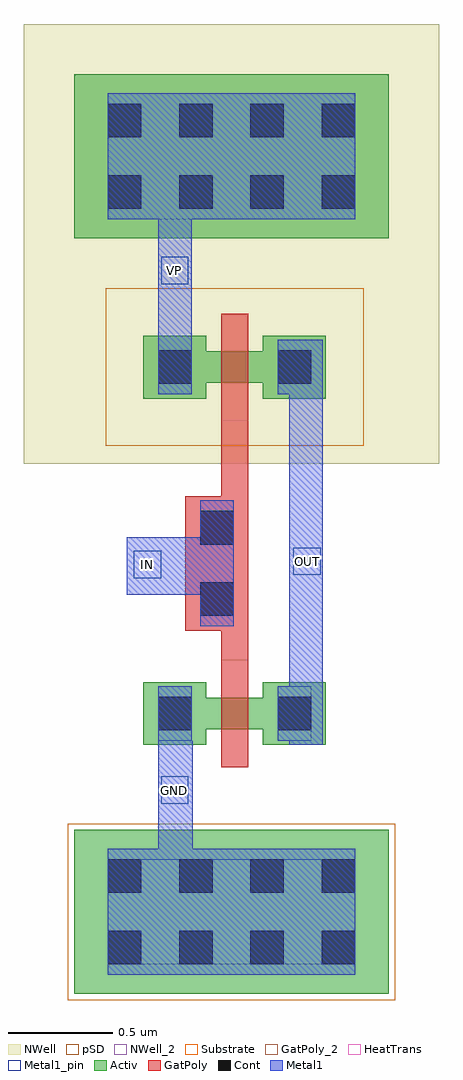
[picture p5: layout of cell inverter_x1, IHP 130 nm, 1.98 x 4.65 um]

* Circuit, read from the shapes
.subckt inverter_x1 GND IN OUT VP
XM1 OUT IN GND GND sg13_lv_nmos w=0.15u l=0.13u
XM2 OUT IN VP VP sg13_lv_pmos w=0.15u l=0.13u
.ends

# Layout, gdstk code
import gdstk
lib = gdstk.Library(unit=1e-6, precision=1e-09)
def R(c, l, rs):  # rectangles x0, y0, x1, y1
    for r in rs: c.add(gdstk.rectangle(r[:2], r[2:], *l))
def A(c, l, x, y, w, h, nx, ny, dx, dy):  # array of equal rectangles
    R(c, l, [(x+i*dx, y+j*dy, x+i*dx+w, y+j*dy+h) for i in range(nx) for j in range(ny)])
Activ = (1, 0)
GatPoly = (5, 0)
GatPoly_2 = (5, 2)
Cont = (6, 0)
Metal1 = (8, 0)
Metal1_pin = (8, 2)
pSD = (14, 0)
NWell = (31, 0)
NWell_2 = (31, 2)
Substrate = (40, 0)
HeatTrans = (51, 0)

via_27 = lib.new_cell('Via$27')
R(via_27, GatPoly, [(-0.15,-0.32,0.15,0.32)])
R(via_27, Cont, [(-0.08,-0.25,0.08,-0.09), (-0.08,0.09,0.08,0.25)])
R(via_27, Metal1, [(-0.08,-0.3,0.08,0.3)])

pmos_11 = lib.new_cell('pmos$11')
R(pmos_11, Activ, [(0,0,0.3,0.3), (0.57,0,0.87,0.3), (0,0.075,0.87,0.225)])
R(pmos_11, GatPoly, [(0.37,-0.105,0.5,0.405), (0.37,-0.105,0.5,0.405)])
R(pmos_11, Cont, [(0.07,0.07,0.23,0.23), (0.64,0.07,0.8,0.23)])
R(pmos_11, Metal1, [(0.07,0.02,0.23,0.28), (0.07,0.02,0.23,0.28), (0.64,0.02,0.8,0.28), (0.64,0.02,0.8,0.28)])
R(pmos_11, pSD, [(-0.18,-0.225,1.05,0.525)])
R(pmos_11, NWell, [(-0.31,-0.31,1.18,0.61)])
R(pmos_11, HeatTrans, [(0.37,-0.105,0.5,0.405)])
pmos_11.add(gdstk.Label('pmos', (0.435,0.15), layer=63, texttype=0))
pmos_11.add(gdstk.Label('pmos', (0.435,0.15), layer=51, texttype=0))

nmos_12 = lib.new_cell('nmos$12')
R(nmos_12, Activ, [(0,0,0.3,0.3), (0.57,0,0.87,0.3), (0,0.075,0.87,0.225)])
R(nmos_12, GatPoly, [(0.37,-0.105,0.5,0.405)])
R(nmos_12, GatPoly_2, [(0.37,-0.105,0.5,0.405)])
R(nmos_12, Cont, [(0.07,0.07,0.23,0.23), (0.64,0.07,0.8,0.23)])
R(nmos_12, Metal1, [(0.07,0.02,0.23,0.28), (0.64,0.02,0.8,0.28)])
R(nmos_12, Metal1_pin, [(0.07,0.02,0.23,0.28), (0.64,0.02,0.8,0.28)])
R(nmos_12, HeatTrans, [(0.37,-0.105,0.5,0.405)])
nmos_12.add(gdstk.Label('nmos', (0.435,0.15), layer=63, texttype=0))
nmos_12.add(gdstk.Label('nmos', (0.435,0.15), layer=51, texttype=0))

ntap1_12 = lib.new_cell('ntap1$12')
R(ntap1_12, Activ, [(0,0,1.5,0.78)])
A(ntap1_12, Cont, 0.16, 0.14, 0.16, 0.16, 4, 2, 0.34, 0.34)
R(ntap1_12, Metal1, [(0.16,0.09,1.34,0.69)])
R(ntap1_12, Metal1_pin, [(0.16,0.09,1.34,0.69), (0.16,0.14,1.34,0.64)])
R(ntap1_12, NWell, [(-0.24,-0.24,1.74,1.02), (0,0,1.5,0.78)])
R(ntap1_12, NWell_2, [(0,0,1.5,0.78)])
ntap1_12.add(gdstk.Label('well', (0.75,0.01), layer=63, texttype=0))
ntap1_12.add(gdstk.Label('well', (0.75,0.01), layer=31, texttype=0))

ptap1_9 = lib.new_cell('ptap1$9')
R(ptap1_9, Activ, [(0,0,1.5,0.78)])
A(ptap1_9, Cont, 0.16, 0.14, 0.16, 0.16, 4, 2, 0.34, 0.34)
R(ptap1_9, Metal1, [(0.16,0.09,1.34,0.69), (0.16,0.14,1.34,0.64)])
R(ptap1_9, Metal1_pin, [(0.16,0.14,1.34,0.64)])
R(ptap1_9, pSD, [(-0.03,-0.03,1.53,0.81)])
R(ptap1_9, Substrate, [(0,0,1.5,0.78)])
ptap1_9.add(gdstk.Label('sub!', (0.75,0.01), layer=63, texttype=0))
ptap1_9.add(gdstk.Label('sub!', (0.75,0.01), layer=40, texttype=0))

inverter_x1 = lib.new_cell('inverter_x1')
R(inverter_x1, GatPoly, [(-0.235,-0.935,-0.105,-0.735), (-0.235,-0.155,-0.105,0.205)])
R(inverter_x1, Metal1, [(-0.535,-1.885,-0.37,-1.32), (0.09,-1.34,0.25,-1.32), (0.09,-1.32,0.25,0.59), (-0.685,-0.625,-0.335,-0.35), (-0.535,0.59,-0.375,1.58)])
R(inverter_x1, Metal1_pin, [(-0.52,-1.62,-0.39,-1.49), (-0.65,-0.545,-0.52,-0.415), (0.11,-0.53,0.24,-0.4), (-0.52,0.855,-0.39,0.985)])
R(inverter_x1, NWell, [(-1.175,0,0.805,2.095)])
inverter_x1.add(gdstk.Reference(via_27, (-0.255,-0.475)))
inverter_x1.add(gdstk.Reference(pmos_11, (-0.605,0.31)))
inverter_x1.add(gdstk.Reference(nmos_12, (-0.605,-1.34)))
inverter_x1.add(gdstk.Reference(ntap1_12, (-0.935,1.075)))
inverter_x1.add(gdstk.Reference(ptap1_9, (-0.935,-2.525)))
inverter_x1.add(gdstk.Label('IN', (-0.585,-0.48), layer=8, texttype=25))
inverter_x1.add(gdstk.Label('OUT', (0.175,-0.465), layer=8, texttype=25))
inverter_x1.add(gdstk.Label('GND', (-0.455,-1.555), layer=8, texttype=25))
inverter_x1.add(gdstk.Label('VP', (-0.455,0.92), layer=8, texttype=25))

lib.write_gds('inverter_x1.gds')
